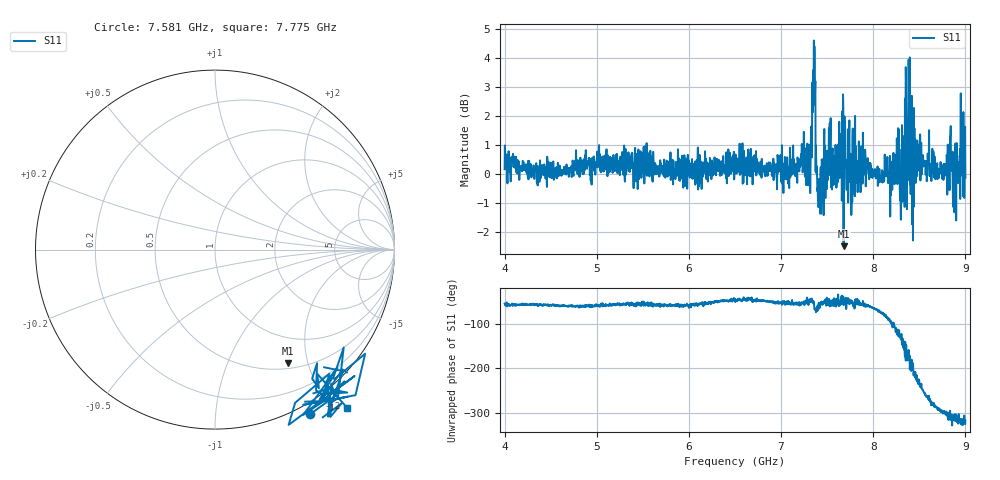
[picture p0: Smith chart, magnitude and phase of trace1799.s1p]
! Created with skrf 1.8.0 (http://scikit-rf.org).
# Hz S RI R 50.0
!freq ReS11 ImS11
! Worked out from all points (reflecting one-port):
!   1601 points, 4 GHz to 9 GHz, reference 50 ohm
!   lowest |S11| = -2.5 dB at 7.678 GHz (marker M1), VSWR 7.06, Z = 28.8 - j83.9 ohm
!   phase of S11 starts at -55 deg and turns -263 deg over the sweep
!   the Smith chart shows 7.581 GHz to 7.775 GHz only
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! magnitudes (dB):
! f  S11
! 4 GHz  0.2
! 4.625 GHz  0.0
! 5.25 GHz  0.0
! 5.875 GHz  0.3
! 6.5 GHz  0.4
! 7.125 GHz  0.1
! 7.294 GHz  -0.4
! 7.319 GHz  0.2
! 7.347 GHz  3.6
! 7.362 GHz  4.4
! 7.4 GHz  -0.9
! 7.412 GHz  -0.2
! 7.512 GHz  0.7
! 7.594 GHz  0.3
! 7.678 GHz  -2.5
! 7.75 GHz  0.1
! 8.188 GHz  0.5
! 8.259 GHz  0.7
! 8.316 GHz  0.7
! 8.334 GHz  -0.1
! 8.375 GHz  0.4
! 8.447 GHz  1.6
! 8.466 GHz  0.1
! 8.7 GHz  0.0
! 8.834 GHz  1.3
! 8.875 GHz  0.4
! 8.972 GHz  0.4
! 9 GHz  -0.1
